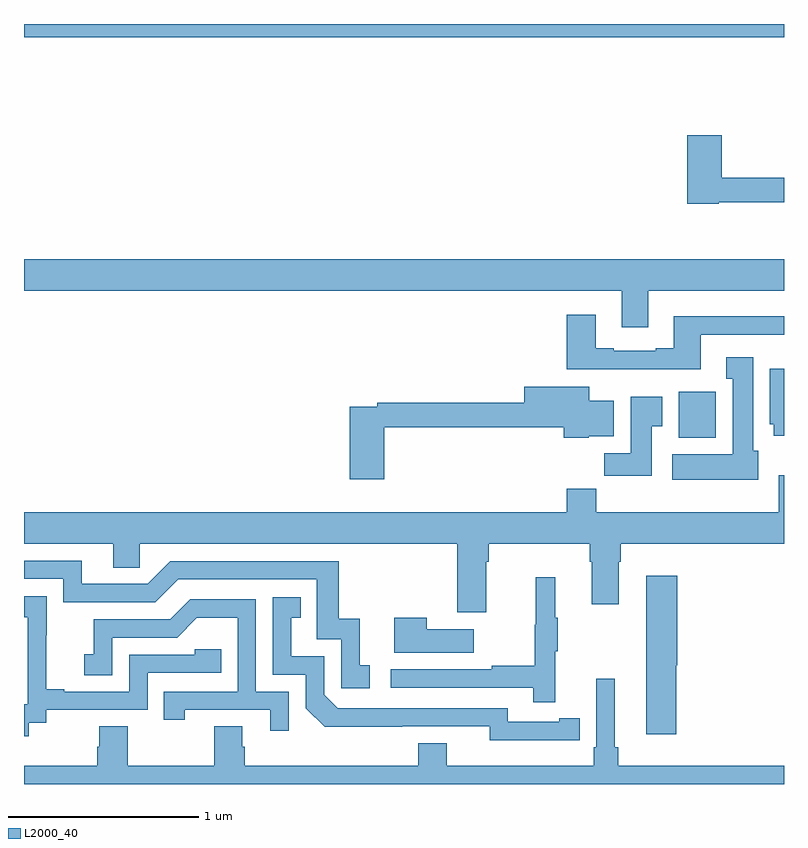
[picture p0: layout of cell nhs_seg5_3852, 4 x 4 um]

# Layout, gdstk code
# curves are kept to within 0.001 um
import gdstk
lib = gdstk.Library(unit=1e-6, precision=1e-09)
def R(c, l, rs):  # rectangles x0, y0, x1, y1
    for r in rs: c.add(gdstk.rectangle(r[:2], r[2:], *l))
def P(c, l, *ps):  # polygons
    for p in ps: c.add(gdstk.Polygon(p, *l))
L2000_40 = (2000, 40)

nhs_seg5_3852 = lib.new_cell('nhs_seg5_3852')
R(nhs_seg5_3852, L2000_40, [(340.445,886.622,340.642,886.864), (337,888.728,341,888.799)])
P(nhs_seg5_3852, L2000_40, [(340.656,887.862),(341,887.862),(341,887.99),(340.673,887.99),(340.673,888.214),(340.49,888.214),(340.49,887.854),(340.656,887.854)],
  [(340.285,887.396),(341,887.396),(341,887.56),(337,887.56),(337,887.396),(340.145,887.396),(340.145,887.202),(340.285,887.202)],
  [(340.561,887.163),(341,887.163),(341,887.26),(340.421,887.26),(340.421,887.092),(340.325,887.092),(340.325,887.079),(340.105,887.079),(340.105,887.092),(340.009,887.092),(340.009,887.269),(339.857,887.269),(339.857,886.982),(340.561,886.982)],
  [(340.864,886.554),(340.837,886.554),(340.837,887.044),(340.697,887.044),(340.697,886.931),(340.73,886.931),(340.73,886.534),(340.413,886.534),(340.413,886.4),(340.864,886.4)],
  [(341,886.984),(340.925,886.984),(340.925,886.692),(340.946,886.692),(340.946,886.632),(341,886.632)],
  [(338.897,886.677),(339.842,886.677),(339.842,886.622),(339.972,886.622),(339.972,886.628),(340.105,886.628),(340.105,886.816),(339.976,886.816),(339.976,886.891),(339.632,886.891),(339.632,886.805),(338.86,886.805),(338.86,886.785),(338.714,886.785),(338.714,886.404),(338.897,886.404)],
  [(340.303,886.681),(340.36,886.681),(340.36,886.837),(340.193,886.837),(340.193,886.54),(340.054,886.54),(340.054,886.422),(340.303,886.422)],
  [(339.433,885.968),(339.446,885.968),(339.446,886.064),(339.977,886.064),(339.977,885.968),(339.989,885.968),(339.989,885.744),(340.129,885.744),(340.129,885.968),(340.142,885.968),(340.142,886.064),(341,886.064),(341,886.423),(340.973,886.423),(340.973,886.228),(340.013,886.228),(340.013,886.352),(339.857,886.352),(339.857,886.228),(337,886.228),(337,886.064),(337.469,886.064),(337.469,885.937),(337.608,885.937),(337.608,886.064),(339.281,886.064),(339.281,885.702),(339.433,885.702)],
  [(338.821,885.423),(338.768,885.423),(338.768,885.67),(338.657,885.67),(338.657,885.972),(337.77,885.972),(337.65,885.852),(337.303,885.852),(337.303,885.975),(337,885.975),(337,885.879),(337.206,885.879),(337.206,885.756),(337.692,885.756),(337.812,885.876),(338.541,885.876),(338.541,885.561),(338.67,885.561),(338.67,885.303),(338.821,885.303)],
  [(340.433,885.423),(340.438,885.423),(340.438,885.895),(340.274,885.895),(340.274,885.06),(340.433,885.06)],
  [(339.797,885.499),(339.808,885.499),(339.808,885.673),(339.797,885.673),(339.797,885.886),(339.694,885.886),(339.694,885.636),(339.687,885.636),(339.687,885.422),(339.463,885.422),(339.463,885.402),(338.931,885.402),(338.931,885.306),(339.679,885.306),(339.679,885.228),(339.797,885.228)],
  [(337.024,885.121),(337.116,885.121),(337.116,885.189),(337.65,885.189),(337.65,885.384),(338.039,885.384),(338.039,885.507),(337.899,885.507),(337.899,885.48),(337.554,885.48),(337.554,885.285),(337.213,885.285),(337.213,885.298),(337.118,885.298),(337.118,885.581),(337.119,885.581),(337.119,885.787),(337,885.787),(337,885.677),(337.019,885.677),(337.019,885.449),(337.02,885.449),(337.02,885.219),(337,885.219),(337,885.051),(337.024,885.051)],
  [(339.818,885.03),(339.926,885.03),(339.926,885.146),(339.818,885.146),(339.818,885.126),(339.546,885.126),(339.546,885.198),(338.652,885.198),(338.58,885.27),(338.58,885.471),(338.407,885.471),(338.407,885.675),(338.456,885.675),(338.456,885.781),(338.31,885.781),(338.31,885.375),(338.484,885.375),(338.484,885.198),(338.582,885.101),(339.45,885.102),(339.45,885.029)],
  [(338.394,885.285),(338.22,885.285),(338.22,885.771),(337.874,885.771),(337.769,885.666),(337.366,885.666),(337.366,885.481),(337.317,885.481),(337.317,885.372),(337.464,885.372),(337.464,885.57),(337.806,885.57),(337.91,885.674),(338.124,885.674),(338.124,885.285),(337.735,885.285),(337.735,885.138),(337.846,885.138),(337.846,885.189),(338.297,885.189),(338.297,885.078),(338.394,885.078)],
  [(339.367,885.613),(339.119,885.613),(339.119,885.673),(338.948,885.673),(338.948,885.491),(339.367,885.491)],
  [(341,884.896),(340.127,884.896),(340.127,884.992),(340.108,884.992),(340.108,885.352),(340.011,885.352),(340.011,884.992),(339.998,884.992),(339.998,884.896),(339.226,884.896),(339.226,885.013),(339.074,885.013),(339.074,884.896),(338.162,884.896),(338.162,884.994),(338.149,884.994),(338.149,885.104),(338.002,885.104),(338.002,884.896),(337.545,884.896),(337.545,885.104),(337.397,885.104),(337.397,884.994),(337.385,884.994),(337.385,884.896),(337,884.896),(337,884.799),(341,884.799)])

lib.write_gds('nhs_seg5_3852.gds')
